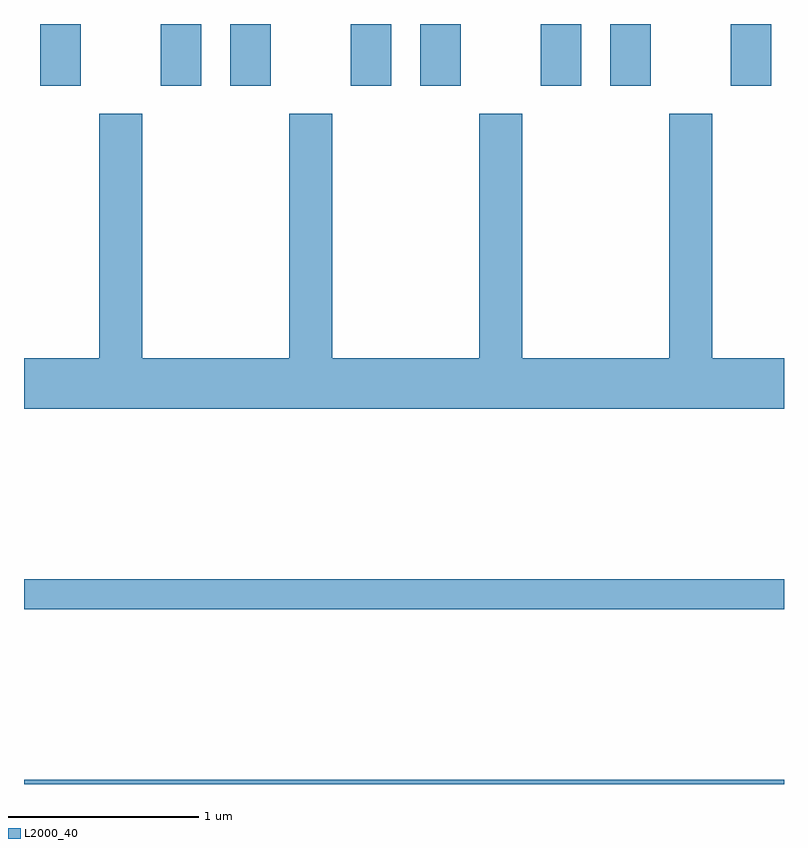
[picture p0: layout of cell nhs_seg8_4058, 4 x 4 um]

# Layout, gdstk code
import gdstk
lib = gdstk.Library(unit=1e-6, precision=1e-09)
def R(c, l, rs):  # rectangles x0, y0, x1, y1
    for r in rs: c.add(gdstk.rectangle(r[:2], r[2:], *l))
def P(c, l, *ps):  # polygons
    for p in ps: c.add(gdstk.Polygon(p, *l))
L2000_40 = (2000, 40)

nhs_seg8_4058 = lib.new_cell('nhs_seg8_4058')
R(nhs_seg8_4058, L2000_40, [(305.611,1934.342,309.611,1934.364), (305.611,1935.261,309.611,1935.419), (305.696,1938.016,305.909,1938.342), (306.331,1938.016,306.544,1938.342), (306.696,1938.016,306.909,1938.342), (307.331,1938.016,307.544,1938.342), (307.696,1938.016,307.909,1938.342), (308.331,1938.016,308.544,1938.342), (308.696,1938.016,308.909,1938.342), (309.331,1938.016,309.544,1938.342)])
P(nhs_seg8_4058, L2000_40, [(309.611,1936.584),(309.234,1936.584),(309.234,1937.869),(309.006,1937.869),(309.006,1936.584),(308.234,1936.584),(308.234,1937.869),(308.006,1937.869),(308.006,1936.584),(307.234,1936.584),(307.234,1937.869),(307.006,1937.869),(307.006,1936.584),(306.234,1936.584),(306.234,1937.869),(306.006,1937.869),(306.006,1936.584),(305.611,1936.584),(305.611,1936.316),(309.611,1936.316)])

lib.write_gds('nhs_seg8_4058.gds')
